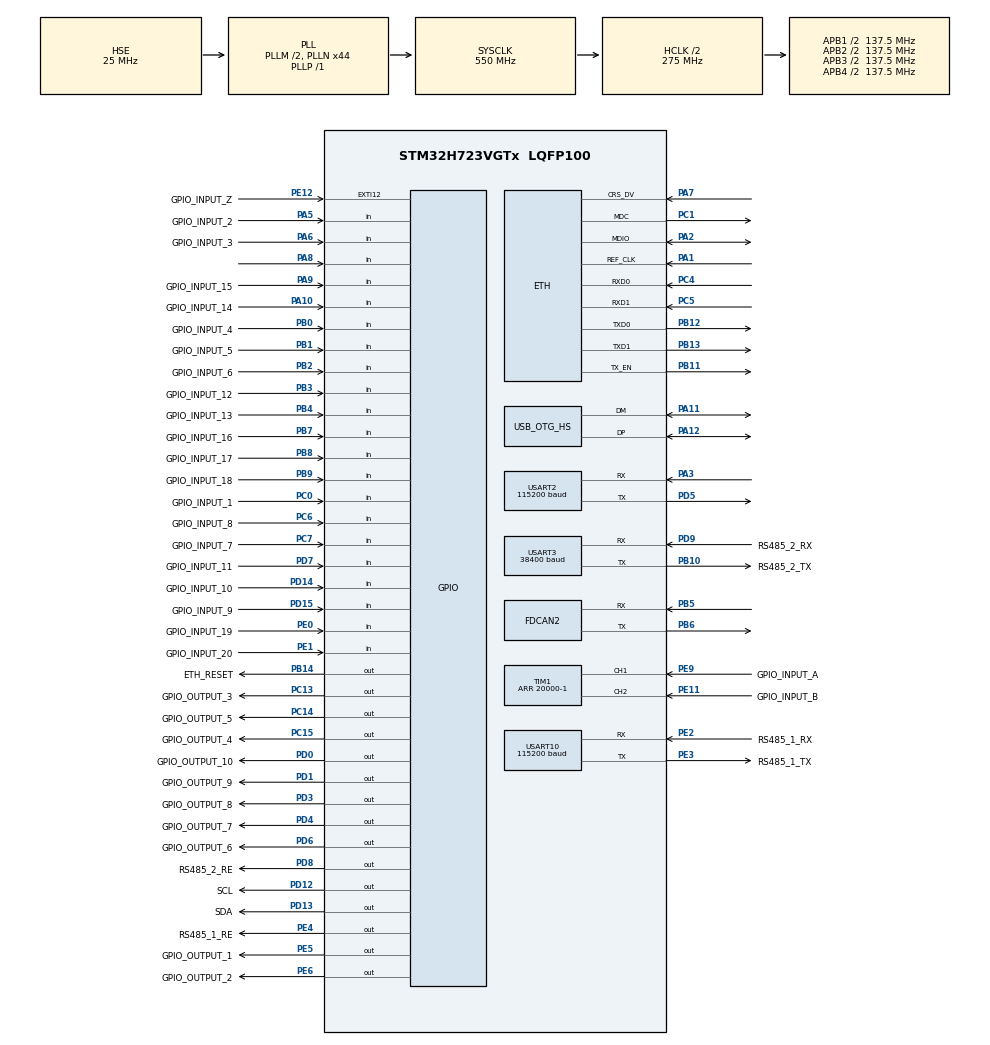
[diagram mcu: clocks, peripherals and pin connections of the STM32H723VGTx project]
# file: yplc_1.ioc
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CORTEX_M7.AccessPermission_S-Cortex_Memory_Protection_Unit_Region1_Settings_S=MPU_REGION_FULL_ACCESS
CORTEX_M7.AccessPermission_Spec=MPU_REGION_FULL_ACCESS
CORTEX_M7.BaseAddress_S-Cortex_Memory_Protection_Unit_Region1_Settings_S=0x30000000
CORTEX_M7.BaseAddress_Spec=0x30000400
CORTEX_M7.CPU_DCache=Enabled
CORTEX_M7.CPU_ICache=Enabled
CORTEX_M7.DisableExec_S-Cortex_Memory_Protection_Unit_Region1_Settings_S=MPU_INSTRUCTION_ACCESS_DISABLE
CORTEX_M7.DisableExec_Spec=MPU_INSTRUCTION_ACCESS_DISABLE
CORTEX_M7.Enable_S-Cortex_Memory_Protection_Unit_Region1_Settings_S=MPU_REGION_ENABLE
CORTEX_M7.IsBufferable_S-Cortex_Memory_Protection_Unit_Region1_Settings_S=MPU_ACCESS_BUFFERABLE
CORTEX_M7.IsBufferable_Spec=MPU_ACCESS_NOT_BUFFERABLE
CORTEX_M7.IsCacheable_S-Cortex_Memory_Protection_Unit_Region1_Settings_S=MPU_ACCESS_NOT_CACHEABLE
CORTEX_M7.IsShareable_S-Cortex_Memory_Protection_Unit_Region1_Settings_S=MPU_ACCESS_SHAREABLE
CORTEX_M7.IsShareable_Spec=MPU_ACCESS_NOT_SHAREABLE
CORTEX_M7.Size_S-Cortex_Memory_Protection_Unit_Region1_Settings_S=MPU_REGION_SIZE_1KB
CORTEX_M7.Size_Spec=MPU_REGION_SIZE_32KB
CORTEX_M7.SubRegionDisable_Spec=0x0
CORTEX_M7.TypeExtField_S-Cortex_Memory_Protection_Unit_Region1_Settings_S=MPU_TEX_LEVEL0
CORTEX_M7.TypeExtField_Spec=MPU_TEX_LEVEL1
CORTEX_M7.default_mode_Activation=1
ETH.MediaInterface=HAL_ETH_RMII_MODE
ETH.RxBuffLen=1528
ETH.RxBufferAddress=0x30000400
ETH.TxDescAddress=0x30000200
FDCAN2.CalculateBaudRateNominal=499999
FDCAN2.CalculateTimeBitNominal=2000
FDCAN2.CalculateTimeQuantumNominal=100.00000000000001
FDCAN2.DataPrescaler=11
FDCAN2.DataSyncJumpWidth=6
FDCAN2.DataTimeSeg1=13
FDCAN2.DataTimeSeg2=6
FDCAN2.NominalPrescaler=11
FDCAN2.NominalSyncJumpWidth=4
FDCAN2.NominalTimeSeg1=11
FDCAN2.NominalTimeSeg2=8
FDCAN2.RxFifo0ElmtsNbr=4
FDCAN2.StdFiltersNbr=1
FDCAN2.TxFifoQueueElmtsNbr=16
FREERTOS.Tasks01=defaultTask,26,1024,StartDefaultTask,Default,NULL,Dynamic,NULL,NULL
FREERTOS.configTOTAL_HEAP_SIZE=30720
LWIP.BSP.number=1
LWIP.GATEWAY_ADDRESS=192.168.137.001
LWIP.IP_ADDRESS=192.168.137.211
LWIP.LWIP_DHCP=0
LWIP.LWIP_NETIF_STATUS_CALLBACK=1
LWIP.LWIP_RAM_HEAP_POINTER=0x30000400
LWIP.LWIP_SNTP=1
LWIP.LWIP_SOCKET=1
LWIP.MEMP_NUM_PBUF=100
LWIP.MEMP_NUM_RAW_PCB=8
LWIP.MEMP_NUM_TCP_PCB=12
LWIP.MEMP_NUM_UDP_PCB=8
LWIP.MEM_SIZE=30720
LWIP.NETMASK_ADDRESS=255.255.255.000
LWIP.SYS_LIGHTWEIGHT_PROT=1
LWIP.Version=v2.1.2_Cube
LWIP0.BSP.STBoard=false
LWIP0.BSP.api=BSP_COMPONENT_DRIVER
LWIP0.BSP.component=LAN8742
LWIP0.BSP.instance=LAN8742
LWIP0.BSP.name=Driver_PHY
LWIP0.BSP.semaphore=S_LAN8742
LWIP0.BSP.solution=LAN8742
Mcu.Family=STM32H7
Mcu.Name=STM32H723VGTx
Mcu.Package=LQFP100
NVIC.ETH_IRQn=true\:5\:0\:false\:false\:true\:true\:true\:true\:true
NVIC.FDCAN2_IT0_IRQn=true\:5\:0\:false\:false\:true\:true\:true\:true\:true
NVIC.PriorityGroup=NVIC_PRIORITYGROUP_4
NVIC.TIM2_IRQn=true\:5\:0\:false\:false\:true\:true\:true\:true\:true
NVIC.TIM4_IRQn=true\:15\:0\:false\:false\:true\:false\:false\:true\:true
NVIC.TIM6_DAC_IRQn=true\:5\:0\:false\:false\:true\:true\:true\:true\:true
NVIC.TimeBase=TIM4_IRQn
NVIC.TimeBaseIP=TIM4
NVIC.USART10_IRQn=true\:5\:0\:false\:false\:true\:true\:true\:true\:true
NVIC.USART2_IRQn=true\:5\:0\:false\:false\:true\:true\:true\:true\:true
NVIC.USART3_IRQn=true\:5\:0\:false\:false\:true\:true\:true\:true\:true
PA1.GPIO_Speed=GPIO_SPEED_FREQ_VERY_HIGH
PA1.Mode=RMII
PA1.Signal=ETH_REF_CLK
PA10.GPIO_Label=GPIO_INPUT_14
PA10.GPIO_PuPd=GPIO_PULLUP
PA10.Signal=GPIO_Input
PA11.Mode=Host_FS
PA11.Signal=USB_OTG_HS_DM
PA12.Mode=Host_FS
PA12.Signal=USB_OTG_HS_DP
PA13(JTMS/SWDIO).Mode=Serial_Wire
PA13(JTMS/SWDIO).Signal=DEBUG_JTMS-SWDIO
PA14(JTCK/SWCLK).Mode=Serial_Wire
PA14(JTCK/SWCLK).Signal=DEBUG_JTCK-SWCLK
PA2.GPIO_Speed=GPIO_SPEED_FREQ_VERY_HIGH
PA2.Mode=RMII
PA2.Signal=ETH_MDIO
PA3.Mode=Asynchronous
PA3.Signal=USART2_RX
PA5.GPIO_Label=GPIO_INPUT_2
PA5.GPIO_PuPd=GPIO_PULLUP
PA5.Signal=GPIO_Input
PA6.GPIO_Label=GPIO_INPUT_3
PA6.GPIO_PuPd=GPIO_PULLUP
PA6.Signal=GPIO_Input
PA7.GPIO_Speed=GPIO_SPEED_FREQ_VERY_HIGH
PA7.Mode=RMII
PA7.Signal=ETH_CRS_DV
PA8.Signal=GPIO_Input
PA9.GPIO_Label=GPIO_INPUT_15
PA9.GPIO_PuPd=GPIO_PULLUP
PA9.Signal=GPIO_Input
PB0.GPIO_Label=GPIO_INPUT_4
PB0.GPIO_PuPd=GPIO_PULLUP
PB0.Signal=GPIO_Input
PB1.GPIO_Label=GPIO_INPUT_5
PB1.GPIO_PuPd=GPIO_PULLUP
PB1.Signal=GPIO_Input
PB10.GPIO_Label=RS485_2_TX
PB10.Mode=Asynchronous
PB10.Signal=USART3_TX
PB11.GPIO_Speed=GPIO_SPEED_FREQ_VERY_HIGH
PB11.Mode=RMII
PB11.Signal=ETH_TX_EN
PB12.GPIO_Speed=GPIO_SPEED_FREQ_VERY_HIGH
PB12.Mode=RMII
PB12.Signal=ETH_TXD0
PB13.GPIO_Speed=GPIO_SPEED_FREQ_VERY_HIGH
PB13.Mode=RMII
PB13.Signal=ETH_TXD1
PB14.GPIO_Label=ETH_RESET
PB14.GPIO_PuPd=GPIO_PULLUP
PB14.PinState=GPIO_PIN_SET
PB14.Signal=GPIO_Output
PB2.GPIO_Label=GPIO_INPUT_6
PB2.GPIO_PuPd=GPIO_PULLUP
PB2.Signal=GPIO_Input
PB3(JTDO/TRACESWO).GPIO_Label=GPIO_INPUT_12
PB3(JTDO/TRACESWO).GPIO_PuPd=GPIO_PULLUP
PB3(JTDO/TRACESWO).Signal=GPIO_Input
PB4(NJTRST).GPIO_Label=GPIO_INPUT_13
PB4(NJTRST).GPIO_PuPd=GPIO_PULLUP
PB4(NJTRST).Signal=GPIO_Input
PB5.Mode=FDCAN_Activate
PB5.Signal=FDCAN2_RX
PB6.Mode=FDCAN_Activate
PB6.Signal=FDCAN2_TX
PB7.GPIO_Label=GPIO_INPUT_16
PB7.GPIO_PuPd=GPIO_PULLUP
PB7.Signal=GPIO_Input
PB8.GPIO_Label=GPIO_INPUT_17
PB8.GPIO_PuPd=GPIO_PULLUP
PB8.Signal=GPIO_Input
PB9.GPIO_Label=GPIO_INPUT_18
PB9.GPIO_PuPd=GPIO_PULLUP
PB9.Signal=GPIO_Input
PC0.GPIO_Label=GPIO_INPUT_1
PC0.GPIO_PuPd=GPIO_PULLUP
PC0.Signal=GPIO_Input
PC1.GPIO_Speed=GPIO_SPEED_FREQ_VERY_HIGH
PC1.Mode=RMII
PC1.Signal=ETH_MDC
PC13.GPIO_Label=GPIO_OUTPUT_3
PC13.PinState=GPIO_PIN_SET
PC13.Signal=GPIO_Output
PC14-OSC32_IN.GPIO_Label=GPIO_OUTPUT_5
PC14-OSC32_IN.PinState=GPIO_PIN_SET
PC14-OSC32_IN.Signal=GPIO_Output
PC15-OSC32_OUT.GPIO_Label=GPIO_OUTPUT_4
PC15-OSC32_OUT.PinState=GPIO_PIN_SET
PC15-OSC32_OUT.Signal=GPIO_Output
PC4.GPIO_Speed=GPIO_SPEED_FREQ_VERY_HIGH
PC4.Mode=RMII
PC4.Signal=ETH_RXD0
PC5.GPIO_Speed=GPIO_SPEED_FREQ_VERY_HIGH
PC5.Mode=RMII
PC5.Signal=ETH_RXD1
PC6.GPIO_Label=GPIO_INPUT_8
PC6.GPIO_PuPd=GPIO_PULLUP
PC6.Signal=GPIO_Input
PC7.GPIO_Label=GPIO_INPUT_7
PC7.GPIO_PuPd=GPIO_PULLUP
PC7.Signal=GPIO_Input
PD0.GPIO_Label=GPIO_OUTPUT_10
PD0.PinState=GPIO_PIN_SET
PD0.Signal=GPIO_Output
PD1.GPIO_Label=GPIO_OUTPUT_9
PD1.PinState=GPIO_PIN_SET
PD1.Signal=GPIO_Output
PD12.GPIO_Label=SCL
PD12.GPIO_ModeDefaultOutputPP=GPIO_MODE_OUTPUT_OD
PD12.GPIO_PuPd=GPIO_NOPULL
PD12.GPIO_Speed=GPIO_SPEED_FREQ_HIGH
PD12.PinState=GPIO_PIN_SET
PD12.Signal=GPIO_Output
PD13.GPIO_Label=SDA
PD13.GPIO_ModeDefaultOutputPP=GPIO_MODE_OUTPUT_OD
PD13.GPIO_PuPd=GPIO_NOPULL
PD13.GPIO_Speed=GPIO_SPEED_FREQ_HIGH
PD13.PinState=GPIO_PIN_SET
PD13.Signal=GPIO_Output
PD14.GPIO_Label=GPIO_INPUT_10
PD14.GPIO_PuPd=GPIO_PULLUP
PD14.Signal=GPIO_Input
PD15.GPIO_Label=GPIO_INPUT_9
PD15.GPIO_PuPd=GPIO_PULLUP
PD15.Signal=GPIO_Input
PD3.GPIO_Label=GPIO_OUTPUT_8
PD3.PinState=GPIO_PIN_SET
PD3.Signal=GPIO_Output
PD4.GPIO_Label=GPIO_OUTPUT_7
PD4.PinState=GPIO_PIN_SET
PD4.Signal=GPIO_Output
PD5.Mode=Asynchronous
PD5.Signal=USART2_TX
PD6.GPIO_Label=GPIO_OUTPUT_6
PD6.GPIO_PuPd=GPIO_NOPULL
PD6.PinState=GPIO_PIN_SET
PD6.Signal=GPIO_Output
PD7.GPIO_Label=GPIO_INPUT_11
PD7.GPIO_PuPd=GPIO_PULLUP
PD7.Signal=GPIO_Input
PD8.GPIO_Label=RS485_2_RE
PD8.GPIO_Speed=GPIO_SPEED_FREQ_HIGH
PD8.Signal=GPIO_Output
PD9.GPIO_Label=RS485_2_RX
PD9.Mode=Asynchronous
PD9.Signal=USART3_RX
PE0.GPIO_Label=GPIO_INPUT_19
PE0.GPIO_PuPd=GPIO_PULLUP
PE0.Signal=GPIO_Input
PE1.GPIO_Label=GPIO_INPUT_20
PE1.GPIO_PuPd=GPIO_PULLUP
PE1.Signal=GPIO_Input
PE11.GPIO_Label=GPIO_INPUT_B
PE11.Signal=S_TIM1_CH2
PE12.GPIO_Label=GPIO_INPUT_Z
PE12.GPIO_PuPd=GPIO_PULLUP
PE12.Signal=GPXTI12
PE2.GPIO_Label=RS485_1_RX
PE2.Mode=Asynchronous
PE2.Signal=USART10_RX
PE3.GPIO_Label=RS485_1_TX
PE3.Mode=Asynchronous
PE3.Signal=USART10_TX
PE4.GPIO_Label=RS485_1_RE
PE4.Signal=GPIO_Output
PE5.GPIO_Label=GPIO_OUTPUT_1
PE5.PinState=GPIO_PIN_SET
PE5.Signal=GPIO_Output
PE6.GPIO_Label=GPIO_OUTPUT_2
PE6.PinState=GPIO_PIN_SET
PE6.Signal=GPIO_Output
PE9.GPIO_Label=GPIO_INPUT_A
PE9.Signal=S_TIM1_CH1
PH0-OSC_IN.Mode=HSE-External-Oscillator
PH0-OSC_IN.Signal=RCC_OSC_IN
PH1-OSC_OUT.Mode=HSE-External-Oscillator
PH1-OSC_OUT.Signal=RCC_OSC_OUT
ProjectManager.HeapSize=0x800
ProjectManager.StackSize=0x800
ProjectManager.TargetToolchain=MDK-ARM V5.32
RCC.ADCFreq_Value=50390625
RCC.APB1Freq_Value=137500000
RCC.APB2Freq_Value=137500000
RCC.APB3Freq_Value=137500000
RCC.APB4Freq_Value=137500000
RCC.CortexFreq_Value=550000000
RCC.D1PPRE=RCC_APB3_DIV2
RCC.D2PPRE1=RCC_APB1_DIV2
RCC.D2PPRE2=RCC_APB2_DIV2
RCC.D3PPRE=RCC_APB4_DIV2
RCC.DIVM1=2
RCC.DIVN1=44
RCC.DIVP1=1
RCC.DIVQ1=5
RCC.HCLKFreq_Value=275000000
RCC.HPRE=RCC_HCLK_DIV2
RCC.PLL2FRACN=0
RCC.PLL3FRACN=0
RCC.PLLFRACN=0
RCC.SYSCLKFreq_VALUE=550000000
RCC.SYSCLKSource=RCC_SYSCLKSOURCE_PLLCLK
RCC.USBFreq_Value=110000000
SH.S_TIM1_CH1.0=TIM1_CH1,Encoder_Interface
SH.S_TIM1_CH2.0=TIM1_CH2,Encoder_Interface
TIM1.EncoderMode=TIM_ENCODERMODE_TI12
TIM1.Period=20000-1
TIM2.AutoReloadPreload=TIM_AUTORELOAD_PRELOAD_ENABLE
TIM2.Period=10000-1
TIM2.Prescaler=275-1
TIM6.AutoReloadPreload=TIM_AUTORELOAD_PRELOAD_ENABLE
TIM6.Period=304
TIM6.Prescaler=275-1
USART10.BaudRate=115200
USART10.VirtualMode=VM_ASYNC
USART2.BaudRate=115200
USART2.VirtualMode-Asynchronous=VM_ASYNC
USART3.BaudRate=38400
USART3.VirtualMode-Asynchronous=VM_ASYNC
USB_OTG_HS.VirtualMode-Host_FS=Host_FS
VP_FREERTOS_VS_CMSIS_V2.Mode=CMSIS_V2
VP_LWIP_VS_Enabled.Mode=Enabled
VP_MEMORYMAP_VS_MEMORYMAP.Mode=CurAppReg
VP_SYS_VS_tim4.Mode=TIM4
VP_TIM2_VS_ClockSourceINT.Mode=Internal
VP_TIM6_VS_ClockSourceINT.Mode=Enable_Timer
board=custom

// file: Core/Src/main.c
/* USER CODE BEGIN Header */
/**
 ******************************************************************************
 * @file           : main.c
 * @brief          : Main program body
 ******************************************************************************
 * @attention
 *
 * Copyright (c) 2025 STMicroelectronics.
 * All rights reserved.
 *
 * This software is licensed under terms that can be found in the LICENSE file
 * in the root directory of this software component.
 * If no LICENSE file comes with this software, it is provided AS-IS.
 *
 ******************************************************************************
 */
/* USER CODE END Header */
#include "main.h"
#include "cmsis_os.h"
#include "fdcan.h"
#include "lwip.h"
#include "tim.h"
#include "usart.h"
#include "usb_otg.h"
#include "gpio.h"

/* USER CODE BEGIN Includes */
#include "encoder.h"
#include "stdio.h"
#include "modbus.h"
/* USER CODE END Includes */

void SystemClock_Config(void);
static void MPU_Config(void);
void MX_FREERTOS_Init(void);

/* USER CODE BEGIN 0 */
int fputc(int c, FILE *stream)
{ // 打印的串口
  HAL_UART_Transmit(&huart2, (uint8_t *)&c, 1, 10);
  return c;
}
/* USER CODE END 0 */

int main(void)
{

  /* MPU Configuration--------------------------------------------------------*/
  MPU_Config();

  /* Enable the CPU Cache */

  /* Enable I-Cache---------------------------------------------------------*/
  SCB_EnableICache();

  /* Enable D-Cache---------------------------------------------------------*/
  SCB_EnableDCache();

  /* MCU Configuration--------------------------------------------------------*/

  /* Reset of all peripherals, Initializes the Flash interface and the Systick. */
  HAL_Init();

  /* Configure the system clock */
  SystemClock_Config();

  /* Initialize all configured peripherals */
  MX_GPIO_Init();
  MX_FDCAN2_Init();
  MX_TIM1_Init();
  MX_TIM2_Init();
  MX_USART2_UART_Init();
  MX_USART3_UART_Init();
  MX_USART10_UART_Init();
  MX_USB_OTG_HS_HCD_Init();
  MX_TIM6_Init();
  /* USER CODE BEGIN 2 */
  modbus_init();
  /* USER CODE END 2 */

  /* Init scheduler */
  osKernelInitialize();  /* Call init function for freertos objects (in cmsis_os2.c) */
  MX_FREERTOS_Init();

  /* Start scheduler */
  osKernelStart();

  /* We should never get here as control is now taken by the scheduler */

  /* Infinite loop */
  while (1)
  {

  }
}

void SystemClock_Config(void)
{
  RCC_OscInitTypeDef RCC_OscInitStruct = {0};
  RCC_ClkInitTypeDef RCC_ClkInitStruct = {0};

  /** Supply configuration update enable
  */
  HAL_PWREx_ConfigSupply(PWR_LDO_SUPPLY);

  /** Configure the main internal regulator output voltage
  */
  __HAL_PWR_VOLTAGESCALING_CONFIG(PWR_REGULATOR_VOLTAGE_SCALE0);

  while(!__HAL_PWR_GET_FLAG(PWR_FLAG_VOSRDY)) {}

  /** Initializes the RCC Oscillators according to the specified parameters
  * in the RCC_OscInitTypeDef structure.
  */
  RCC_OscInitStruct.OscillatorType = RCC_OSCILLATORTYPE_HSE;
  RCC_OscInitStruct.HSEState = RCC_HSE_ON;
  RCC_OscInitStruct.PLL.PLLState = RCC_PLL_ON;
  RCC_OscInitStruct.PLL.PLLSource = RCC_PLLSOURCE_HSE;
  RCC_OscInitStruct.PLL.PLLM = 2;
  RCC_OscInitStruct.PLL.PLLN = 44;
  RCC_OscInitStruct.PLL.PLLP = 1;
  RCC_OscInitStruct.PLL.PLLQ = 5;
  RCC_OscInitStruct.PLL.PLLR = 2;
  RCC_OscInitStruct.PLL.PLLRGE = RCC_PLL1VCIRANGE_3;
  RCC_OscInitStruct.PLL.PLLVCOSEL = RCC_PLL1VCOWIDE;
  RCC_OscInitStruct.PLL.PLLFRACN = 0;
  if (HAL_RCC_OscConfig(&RCC_OscInitStruct) != HAL_OK)
  {
    Error_Handler();
  }

  /** Initializes the CPU, AHB and APB buses clocks
  */
  RCC_ClkInitStruct.ClockType = RCC_CLOCKTYPE_HCLK|RCC_CLOCKTYPE_SYSCLK
                              |RCC_CLOCKTYPE_PCLK1|RCC_CLOCKTYPE_PCLK2
                              |RCC_CLOCKTYPE_D3PCLK1|RCC_CLOCKTYPE_D1PCLK1;
  RCC_ClkInitStruct.SYSCLKSource = RCC_SYSCLKSOURCE_PLLCLK;
  RCC_ClkInitStruct.SYSCLKDivider = RCC_SYSCLK_DIV1;
  RCC_ClkInitStruct.AHBCLKDivider = RCC_HCLK_DIV2;
  RCC_ClkInitStruct.APB3CLKDivider = RCC_APB3_DIV2;
  RCC_ClkInitStruct.APB1CLKDivider = RCC_APB1_DIV2;
  RCC_ClkInitStruct.APB2CLKDivider = RCC_APB2_DIV2;
  RCC_ClkInitStruct.APB4CLKDivider = RCC_APB4_DIV2;

  if (HAL_RCC_ClockConfig(&RCC_ClkInitStruct, FLASH_LATENCY_3) != HAL_OK)
  {
    Error_Handler();
  }
}

 /* MPU Configuration */

void MPU_Config(void)
{
  MPU_Region_InitTypeDef MPU_InitStruct = {0};

  /* Disables the MPU */
  HAL_MPU_Disable();

  /** Initializes and configures the Region and the memory to be protected
  */
  MPU_InitStruct.Enable = MPU_REGION_ENABLE;
  MPU_InitStruct.Number = MPU_REGION_NUMBER0;
  MPU_InitStruct.BaseAddress = 0x30000400;
  MPU_InitStruct.Size = MPU_REGION_SIZE_32KB;
  MPU_InitStruct.SubRegionDisable = 0x0;
  MPU_InitStruct.TypeExtField = MPU_TEX_LEVEL1;
  MPU_InitStruct.AccessPermission = MPU_REGION_FULL_ACCESS;
  MPU_InitStruct.DisableExec = MPU_INSTRUCTION_ACCESS_DISABLE;
  MPU_InitStruct.IsShareable = MPU_ACCESS_NOT_SHAREABLE;
  MPU_InitStruct.IsCacheable = MPU_ACCESS_NOT_CACHEABLE;
  MPU_InitStruct.IsBufferable = MPU_ACCESS_NOT_BUFFERABLE;

  HAL_MPU_ConfigRegion(&MPU_InitStruct);

  /** Initializes and configures the Region and the memory to be protected
  */
  MPU_InitStruct.Number = MPU_REGION_NUMBER1;
  MPU_InitStruct.BaseAddress = 0x30000000;
  MPU_InitStruct.Size = MPU_REGION_SIZE_1KB;
  MPU_InitStruct.TypeExtField = MPU_TEX_LEVEL0;
  MPU_InitStruct.IsShareable = MPU_ACCESS_SHAREABLE;
  MPU_InitStruct.IsBufferable = MPU_ACCESS_BUFFERABLE;

  HAL_MPU_ConfigRegion(&MPU_InitStruct);
  /* Enables the MPU */
  HAL_MPU_Enable(MPU_PRIVILEGED_DEFAULT);

}

void HAL_TIM_PeriodElapsedCallback(TIM_HandleTypeDef *htim)
{
  if (htim->Instance == TIM4)
  {
    HAL_IncTick();
  }
  /* USER CODE BEGIN Callback 1 */
  if (htim->Instance == htim2.Instance) // 10ms为速度计算周期
  {

    int16_t pluse = COUNTERNUM - RELOADVALUE / 2;
    // 10ms中断读取增量式编码器
    encoder.totalAngle = pluse + encoder.loopNum * RELOADVALUE / 2;
    encoder.speed = -(float)(encoder.totalAngle - encoder.lastAngle) / (4 * RR) * 6000;
    encoder.lastAngle = encoder.totalAngle;
  }
  else if (htim->Instance == htim1.Instance) // 定时器编码器模式
  {
    if (COUNTERNUM < 10000)
      encoder.loopNum++;
    else if (COUNTERNUM > 10000)
      encoder.loopNum--;
    __HAL_TIM_SetCounter(&htim1, 10000);
  }
  else if (htim->Instance == htim6.Instance) // modbus帧间隔
  {
    HAL_TIM_Base_Stop_IT(&htim6);
    if (hmodbus.rx_len > 0)
      process_modbus_frame();
  }
  /* USER CODE END Callback 1 */
}

void Error_Handler(void)
{
  __disable_irq();
  while (1)
  {
  }
}

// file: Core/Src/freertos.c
/* USER CODE BEGIN Header */
/**
 ******************************************************************************
 * File Name          : freertos.c
 * Description        : Code for freertos applications
 ******************************************************************************
 * @attention
 *
 * Copyright (c) 2025 STMicroelectronics.
 * All rights reserved.
 *
 * This software is licensed under terms that can be found in the LICENSE file
 * in the root directory of this software component.
 * If no LICENSE file comes with this software, it is provided AS-IS.
 *
 ******************************************************************************
 */
/* USER CODE END Header */

#include "FreeRTOS.h"
#include "task.h"
#include "main.h"
#include "cmsis_os.h"

/* USER CODE BEGIN Includes */
#include "digital_quantity.h"
#include "usart.h"
#include "rs485.h"
#include "canopen.h"
#include "servo.h"
#include "eeprom.h"
#include "lwip.h"
#include "tcpclient.h"
#include "tcpserver.h"
#include "telescoping_fork.h"
#include "forkLever.h"
#include "move.h"
#include "kincoServo.h"
/* USER CODE END Includes */

/* USER CODE BEGIN PTD */
void DigitalOutputTestTask();
void ServoTask();
void lwipTask();
void AutoMoveTask(void *argument);
/* USER CODE END PTD */
CANopen_Status now = 0;
/* USER CODE BEGIN PD */

uint8_t command_buffer[50];  // 用于存储接收到的命令
static uint8_t command_index = 0;  // 命令缓冲区索引
static uint32_t position = 0x00000000;
static uint32_t fork_position = 0x00000000;
// 每次递增 1000 (十进制，即 0x3E8)
#define POSITION_STEP_HEX   0x000003E8u
#define CMD_LINE_MAX 50  // 与 stm32h7xx_it.c 保持一致
int autoflag=1;
ServoTxPacket packet=0;
/* USER CODE END PD */

/* Definitions for defaultTask */
osThreadId_t defaultTaskHandle;
const osThreadAttr_t defaultTask_attributes = {
    .name = "defaultTask",
    .stack_size = 1024 * 4,
    .priority = (osPriority_t)osPriorityNormal2,
};

/* USER CODE BEGIN FunctionPrototypes */
osThreadId_t DigitalTestTaskHandle;
const osThreadAttr_t DigitalTestTask_attributes = {
    .name = "DigitalTestTask",
    .stack_size = 512 * 4,
    .priority = (osPriority_t)osPriorityNormal1, // i2c 测试优先级最低
};

osThreadId_t ServoTaskHandle;
const osThreadAttr_t ServoTask_attributes = {
    .name = "ServoTask",
    .stack_size = 128 * 4,
    .priority = (osPriority_t)osPriorityNormal,
};

osThreadId_t lwipTaskHandle;
const osThreadAttr_t lwipTask_attributes = {
    .name = "lwipTask",
    .stack_size = 1024 * 4,
    .priority = (osPriority_t)osPriorityNormal1,
};

osThreadId_t AutoMoveTaskHandle;
const osThreadAttr_t AutoMoveTask_attributes = {
    .name = "AutoMoveTask",
    .stack_size = 512 * 4,
    .priority = (osPriority_t)osPriorityNormal1,
};

/* USER CODE END FunctionPrototypes */

void StartDefaultTask(void *argument);

extern void MX_LWIP_Init(void);
void MX_FREERTOS_Init(void); /* (MISRA C 2004 rule 8.1) */
osMessageQueueId_t uart_rx_queue;
static uint8_t output_status[10] = {0};  // 初始状态都为 0 (低电平)
static inline void forkExtend(int32_t delta)
{
    // 这里 position 是 uint32_t，如果不想让减法回绕，可以自行做饱和判断
    if (delta >= 0) {
        fork_position += (uint32_t)delta;
    } else {
        // 若不希望回绕，可改成：if (position < (uint32_t)(-delta)) position = 0; else position -= (uint32_t)(-delta);
        fork_position -= (uint32_t)(-delta);
    }

    // 写入新的目标位置并触发运动
    now=canopen_sdo_write(2, 0x6081, 0x00, 0x0014FFFF, 4); // 设定梽速度
    osDelay(20);
    now=canopen_sdo_write(2, 0x607A, 0x00, delta, 4); // 盠位置
    osDelay(20);
    now=canopen_sdo_write(2, 0x6040, 0x00, 0x004F, 2);   // 使能/准
    osDelay(20);
    now=canopen_sdo_write(2, 0x6040, 0x00, 0x005F, 2);   // 启动新位置运动
    osDelay(20);

    printf("move: position=0x%08lX (step=%ld)\n",
       (unsigned long)fork_position, (long)delta);

}
static inline void forkRetract(int32_t delta)
{
    // 这里 position 是 uint32_t，如果不想让减法回绕，可以自行做饱和判断
    if (delta >= 0) {
        fork_position += (uint32_t)delta;
    } else {
        // 若不希望回绕，可改成：if (position < (uint32_t)(-delta)) position = 0; else position -= (uint32_t)(-delta);
        fork_position -= (uint32_t)(-delta);
    }

    // 写入新的目标位置并触发运动
    now=canopen_sdo_write(2, 0x6081, 0x00, 0x0014FFFF, 4); // 设定梽速度
    osDelay(20);
    now=canopen_sdo_write(2, 0x607A, 0x00, delta, 4); // 盠位置
    osDelay(20);
    now=canopen_sdo_write(2, 0x6040, 0x00, 0x004F, 2);   // 使能/准
    osDelay(20);
    now=canopen_sdo_write(2, 0x6040, 0x00, 0x005F, 2);   // 启动新位置运动
    osDelay(20);

    printf("move_x: position=0 \n");
}
static inline void movewithSensor(int32_t delta)
{

}
static inline void do_move(int32_t delta)
{
  if(DigitalQuantity_Input(2)==0)//
  {
    while(1)
    {
      printf("sensor!!!\n");
      osDelay(500);
      if(DigitalQuantity_Input(2)==1)//
      {
        printf("ok!!!");
        break;
      }
    }
  }
  else
    // 这里 position 是 uint32_t，如果不想让减法回绕，可以自行做饱和判断
    {
      if (delta >= 0) {
        position += (uint32_t)delta;
    } else {
        // 若不希望回绕，可改成：if (position < (uint32_t)(-delta)) position = 0; else position -= (uint32_t)(-delta);
        position -= (uint32_t)(-delta);
    }

    // 写入新的目标位置并触发运动
    now=canopen_sdo_write(3, 0x6081, 0x00, 0x0014FFFF, 4); // 设定梽速度
    osDelay(20);
    now=canopen_sdo_write(3, 0x607A, 0x00, delta, 4); // 盠位置
    osDelay(20);
    now=canopen_sdo_write(3, 0x6040, 0x00, 0x004F, 2);   // 使能/准
    osDelay(20);
    now=canopen_sdo_write(3, 0x6040, 0x00, 0x005F, 2);   // 启动新位置运动
    osDelay(20);

    printf("move_y: position=0x%08lX (step=%ld)\n",
           (unsigned long)position, (long)delta);
    }

}
static inline void sevroAction(int action)//1=90°，0=0°
{
  if(action)
  {
  packet = createSetPositionPacket(0x02, 0x0000, 0x0000, 0x0000);
  sendServoPacket(&packet);
  osDelay(20);
  packet = createSetPositionPacket(0x01, 0x0400, 0x0000, 0x0000);
  sendServoPacket(&packet);
  }
  else
  {
  packet = createSetPositionPacket(0x02, 0x0400, 0x0000, 0x0000);
  sendServoPacket(&packet);
  osDelay(20);
  packet = createSetPositionPacket(0x01, 0x0000, 0x0000, 0x0000);
  sendServoPacket(&packet);
  }
}

static void parse_command(const char *line)
{
    if (!line) { printf("无效命令: <null>\n"); return; }

    // 跳过前空白
    const char *p = line;
    while (*p == ' ' || *p == '\t') p++;

    // 取前三个字（足够判於
    char c0 = p[0];
    char c1 = p[1];
    char c2 = p[2];

    // ---- 方案A：两字符数字（端口电平）----
    // 允笸丘 '\0' / '\r' / 空格 / '\t'
    if (c0 >= '0' && c0 <= '9' && (c1 == '0' || c1 == '1') &&
        (c2 == '\0' || c2 == '\r' || c2 == ' ' || c2 == '\t'))
    {
        uint8_t port  = (uint8_t)(c0 - '0'); // 0..9
        uint8_t level = (uint8_t)(c1 - '0'); // 0/1
        if(port==0)
        {
          printf("port:%d/n",port);
          if(level)
          {
            ServoTxPacket packet = createSetPositionPacket(0x02, 0x0400, 0x0000, 0x0000);
            sendServoPacket(&packet);
          }
          else
          {
            ServoTxPacket packet = createSetPositionPacket(0x02, 0x0000, 0x0000, 0x0000);
            sendServoPacket(&packet);
          }

        }
        if (level)  DigitalQuantity_Output(port + 1, HIGH);
        else        DigitalQuantity_Output(port + 1, LOW);

        printf("控制输出端%u: %s\n", (unsigned)(port + 1), level ? "HIGH" : "LOW");
        return;
    }

    // ---- 方案B：单字符运动命令（W/S/A/D）---
    // 允许只有一个字符 + 终止/空白
    if ((c0 == 'W' || c0 == 'w' ||
         c0 == 'S' || c0 == 's' ||
         c0 == 'A' || c0 == 'a' ||
         c0 == 'D' || c0 == 'd') &&
        (c1 == '\0' || c1 == '\r' || c1 == ' ' || c1 == '\t'))
    {
        switch (c0) {
                case 'W': case 'w':        // 前进 1 step
                forkExtend((int32_t)POSITION_STEP_HEX);
                case 'D': case 'd':        // 右转 1 step
                do_move((int32_t)POSITION_STEP_HEX);
                break;

                case 'S': case 's':        // 后退 1 step
                forkRetract((int32_t)POSITION_STEP_HEX);
                case 'A': case 'a':        // 左转 1 step
                do_move(-(int32_t)POSITION_STEP_HEX);
                break;
        }
        return;
    }

    // 其它内容一律视为无效
    printf("无效命令: %s\n", line ? line : "<null>");
}

void parse_command_task(void *argument)
{
    uint8_t line[50];  // 队列里每条消恘行的必

    for (;;) {
        if (osMessageQueueGet(uart_rx_queue, line, NULL, osWaitForever) == osOK) {
            // 保证以'\0' 结尾（双重保险）
            line[sizeof(line)-1] = '\0';
            printf("Received command: %s\r\n", line);
            parse_command((const char*)line);
        }
    }
}

void MX_FREERTOS_Init(void)
{

    // 创建队列
    //
    uart_rx_queue = osMessageQueueNew(8, CMD_LINE_MAX, NULL);

    //
    osThreadNew(parse_command_task, NULL, NULL);

  /* USER CODE END Init */

  /* Create the thread(s) */
  /* creation of defaultTask */
  defaultTaskHandle = osThreadNew(StartDefaultTask, NULL, &defaultTask_attributes);

  /* USER CODE BEGIN RTOS_THREADS */
  /* add threads, ... */
  DigitalTestTaskHandle = osThreadNew(DigitalOutputTestTask, NULL, &DigitalTestTask_attributes);
  // ServoTaskHandle = osThreadNew(ServoTask, NULL, &ServoTask_attributes);
  // lwipTaskHandle = osThreadNew(lwipTask, NULL, &lwipTask_attributes);
  // AutoMoveTaskHandle = osThreadNew(AutoMoveTask, NULL, &AutoMoveTask_attributes);
  /* USER CODE END RTOS_THREADS */

}

void StartDefaultTask(void *argument)
{
  /* init code for LWIP */
  // MX_LWIP_Init();
  /* USER CODE BEGIN StartDefaultTask */
  printf("LwIP Init\n");

  /* Infinite loop */
  for (;;)
  {
    vTaskSuspend(defaultTaskHandle);
    osDelay(1);
  }
  /* USER CODE END StartDefaultTask */
}

/* USER CODE BEGIN Application */
void DigitalOutputTestTask()
{
  //
  xI2CMutex = xSemaphoreCreateMutex();
  xCanTxMutex = xSemaphoreCreateMutex();
  uint8_t data[4] = {1, 2, 3, 4};
  configASSERT(xI2CMutex != NULL); // FreeRTOSConfig.hconfigASSERT

  // osDelay(5000);
  /* Infinite loop */
  uint8_t servoFlag = 1;
  uint16_t startAddr = 0x2000;
  uint8_t writeData[256];
  uint8_t readData[256];
  // 2. 分页写入数据
  uint16_t bytesWritten = 0;
  uint8_t *ptr = writeData;
  uint16_t remaining = 256;
  uint16_t bytesRead = 0;
  uint8_t chunk = 0;
  static uint16_t errors = 0;
  uint8_t input2_value = 0;
  uint8_t input2_value_last = 0;
  // TCP_Echo_Init();
  while (1)
  {

    osDelay(2000);
    // canopen_sdo_write(2, 0x6040, 0x00, 0x000F, 2);   // 使能/准
		osDelay(5000);
    canopen_sdo_write(3, 0x6040, 0x00, 0x000F, 2);   // 使能/准
    // printf("aa");
    // 读取数据
    // tcp_read_data();
    // canopen_sdo_read(3, 0x1017, 0x00);

    // if (currentState == FORK_STATE_INIT)
    // {
    //   telescopingForkInit();
    //   printf("telescopingForkInit\n");
    // }
    // now = canopen_sdo_write(3, 0x6081, 0x00, 0x0014FFFF, 4); // 设定梽速度
    // else if (currentState == FORK_STATE_IDLE)
    // {
      // now = canopen_sdo_write(3, 0x607A, 0x00, 0x00007530, 4); // 设定盠位置
      // osDelay(20);
      // now = canopen_sdo_write(3, 0x6040, 0x00, 0x0000004F, 2); // 写控制字4F
      // osDelay(20);
      // now = canopen_sdo_write(3, 0x6040, 0x00, 0x0000005F, 2); // 写控制字5F
      // osDelay(2000);
    //   printf("telescopingForkFSM\n");
    // }
    now = canopen_sdo_write(2, 0x1017, 0x00, 0x000003E8, 2); // 开启心跳报文时间 1s
    osDelay(200);
    now = canopen_sdo_write(3, 0x1017, 0x00, 0x000003E8, 2); // 开启心跳报文时间 1s
    osDelay(200);
    now = canopen_sdo_write(3, 0x6099, 0x03, 0x00000000, 1); // 关闭自动回零
    osDelay(200);
    now = canopen_sdo_write(3, 0x6060, 0x00, 0x00000001, 1); // 设置工作模式
    osDelay(200);
    now = canopen_sdo_write(2, 0x6099, 0x03, 0x00000000, 1); // 关闭自动回零
    osDelay(200);
    now = canopen_sdo_write(2, 0x6060, 0x00, 0x00000001, 1); // 设置工作模式
    // osDelay(2000);
    // sevroAction(0);
    // osDelay(2000);
		// sevroAction(1);
    if(autoflag)
  {

    // TODO: fill in automatic movement logic
  printf("auto");
  osDelay(10000);
  canopen_sdo_write(3, 0x6040, 0x00, 0x000F, 2);   // 使能/准
  osDelay(200);
  canopen_sdo_write(2, 0x6040, 0x00, 0x000F, 2);   // 使能/准
  printf("start");

  sevroAction(1);//0°
  forkExtend(-150000);
  osDelay(5000);
  sevroAction(0);
  osDelay(1000);
  forkRetract(150000);
  osDelay(5000);

  do_move(-1000000);
  osDelay(15000);

  forkExtend(-150000);
  osDelay(5000);
  sevroAction(1);
  osDelay(1000);
  forkRetract(150000);
  osDelay(5000);

  do_move(1000000);
  osDelay(15000);

  do_move(-1000000);
  osDelay(15000);

  sevroAction(1);
  forkExtend(-150000);
  osDelay(5000);
  sevroAction(0);
  osDelay(1000);
  forkRetract(150000);
  osDelay(5000);

  do_move(1000000);
  osDelay(15000);

  forkExtend(-150000);
  osDelay(5000);
  sevroAction(1);
  osDelay(1000);
  forkRetract(150000);
  osDelay(5000);
  autoflag=0;

  }
    if (HAL_FDCAN_GetTxFifoFreeLevel(&hfdcan2) == 0)
    {
      printf("FIFO full\n");
    }

            input2_value = DigitalQuantity_Input(2); //

      printf("%u",input2_value);

    RS485ServoTransmit(data, 4);
    RS485PowerTransmit(data, 4);

      if (servoFlag) // 舵机位置校准以及测试
{
 // ServoTxPacket packet = createQueryIdPacket();
//  ServoTxPacket packet = createSetPositionPacket(0x02, 0x0000, 0x0000, 0x0000);
 // ServoTxPacket packet = createSetPositionPacket(0x01, 0x0000, 0x0000, 0x0001);
 // ServoTxPacket packet = createReadPositionPacket(0x01);
 // ServoTxPacket packet = createPositionCalibratePacket(0x01, 0xffc5);
 sendServoPacket(&packet);
     osDelay(5000);
 servoFlag = 0;
}

  }
}

void ServoTask()
{
  while (1)
  {
    if (rxPacketReady)
    {
      rxPacketReady = 0;

      // 轍为数捌结构
      ServoRxPacket *packet = (ServoRxPacket *)rxBuffer;

      // 验证校验和
      uint8_t calcChecksum = CalculateChecksumRx(&rxBuffer[2], packet->length + 1);
      uint8_t receivedChecksum = rxBuffer[2 + packet->length + 1];
      packet->checksum = receivedChecksum;

      if (calcChecksum == receivedChecksum)
      {
        ProcessServoPacket(packet);
      }
      else
      {
        // 校验和错误处理
        // 例如: 重发请求或记录错误
      }
    }
    osDelay(10);
  }
}

void lwipTask()
{
  /* USER CODE BEGIN StartTask02 */
  /* Infinite loop */
  osDelay(3000);
  tcp_client_init();
  printf("-------tcp初化结束\n");
  for (;;)
  {
    if (!isConnected())
    {
      // 尝试重新连接
      reconnect_attempts++;
      if (reconnect_attempts <= MAX_RECONNECT_ATTEMPTS && !isConnected())
      {
        //  printf("Reconnecting... Attempt %d\n", reconnect_attempts);
        vTaskDelay(pdMS_TO_TICKS(1000));
        tcp_client_init();
      }
      else
      {
        //  printf("Max reconnect attempts reached. Giving up.\n");
        reconnect_attempts = 0;
      }
    }
    else
    {
      // 发送测试数据
      tcp_send_data("Hello, Server!");
    }
    vTaskDelay(pdMS_TO_TICKS(1000)); // 每执1
  }
  /* USER CODE END StartTask02 */
}

void AutoMoveTask(void *argument)
{
  /* USER CODE BEGIN AutoMoveTask */
  if(autoflag)
  {
    // TODO: fill in automatic movement logic
  printf("auto");
  osDelay(10000);
  do_move(500000);
  osDelay(20000);
  sevroAction(1);
  forkExtend(-150000);
  osDelay(10000);
  sevroAction(0);
  osDelay(10000);
  forkRetract(0);
  osDelay(10000);
  do_move(0);
  osDelay(10000);
  forkExtend(-150000);
  osDelay(10000);
  sevroAction(1);
  osDelay(10000);
  forkRetract(0);
  osDelay(10000);
  autoflag=0;

  }
  /* USER CODE END AutoMoveTask */
}

/* USER CODE END Application */
